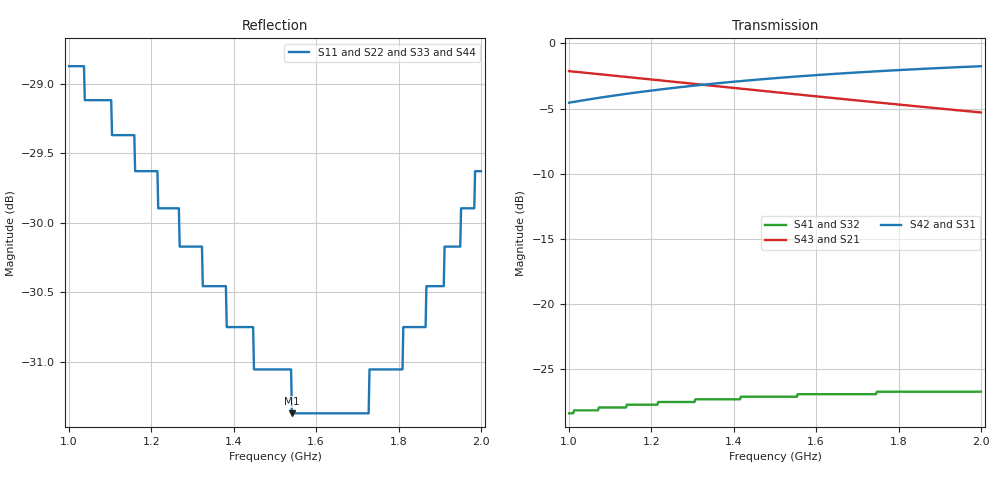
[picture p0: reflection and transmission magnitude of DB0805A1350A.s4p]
!	AVX THIN FILM OPERATION
!	0805 SIZE 3dB 90deg COUPLER P/N DB0805A1350ASTR
!	Created November 2010
!	Network	Analyzer	HP8720E	S.07.64:	"Feb23,2000"	Serial	No.US39172382
# MHZ S MA R 50
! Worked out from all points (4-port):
!   500 points, 1 GHz to 2 GHz, reference 50 ohm
!   strongest paths, dB at 1 GHz, 1.251 GHz, 1.501 GHz, 1.752 GHz, 2 GHz:
!     S42: -4.6, -3.4, -2.7, -2.1, -1.7
!     S31: -4.6, -3.4, -2.7, -2.1, -1.7
!     S43: -2.1, -2.9, -3.7, -4.5, -5.3
!     S21: -2.1, -2.9, -3.7, -4.5, -5.3
!     S41: -28.4, -27.5, -27.1, -26.7, -26.7
!     S32: -28.4, -27.5, -27.1, -26.7, -26.7
!   lowest |S11| = -31.4 dB at 1.541 GHz (marker M1), VSWR 1.06, Z = 48.7 - j2.32 ohm
!   |S11| at or under -10 dB: start of sweep to end of sweep
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1000  0.036 -127.6  0.783 -39.7  0.592 50.2  0.038 -16.7
      0.783 -39.7  0.036 -127.6  0.038 -16.7  0.592 50.2
      0.592 50.2  0.038 -16.7  0.036 -127.6  0.783 -39.7
      0.038 -16.7  0.592 50.2  0.783 -39.7  0.036 -127.6
1220.441  0.032 -129.6  0.722 -45.9  0.665 44.1  0.042 -34.0
          0.722 -45.9  0.032 -129.6  0.042 -34.0  0.665 44.1
          0.665 44.1  0.042 -34.0  0.032 -129.6  0.722 -45.9
          0.042 -34.0  0.665 44.1  0.722 -45.9  0.032 -129.6
1541.082  0.027 -118.3  0.64 -53.3  0.744 36.7  0.044 -55.3
          0.64 -53.3  0.027 -118.3  0.044 -55.3  0.744 36.7
          0.744 36.7  0.044 -55.3  0.027 -118.3  0.64 -53.3
          0.044 -55.3  0.744 36.7  0.64 -53.3  0.027 -118.3
1723.447  0.027 -105.8  0.599 -57.0  0.778 33.1  0.045 -65.8
          0.599 -57.0  0.027 -105.8  0.045 -65.8  0.778 33.1
          0.778 33.1  0.045 -65.8  0.027 -105.8  0.599 -57.0
          0.045 -65.8  0.778 33.1  0.599 -57.0  0.027 -105.8
1733.467  0.028 -105.1  0.597 -57.2  0.779 32.9  0.045 -66.3
          0.597 -57.2  0.028 -105.1  0.045 -66.3  0.779 32.9
          0.779 32.9  0.045 -66.3  0.028 -105.1  0.597 -57.2
          0.045 -66.3  0.779 32.9  0.597 -57.2  0.028 -105.1
1805.611  0.028 -99.9  0.582 -58.5  0.791 31.6  0.046 -70.2
          0.582 -58.5  0.028 -99.9  0.046 -70.2  0.791 31.6
          0.791 31.6  0.046 -70.2  0.028 -99.9  0.582 -58.5
          0.046 -70.2  0.791 31.6  0.582 -58.5  0.028 -99.9
2000  0.033 -88.2  0.543 -61.8  0.818 28.4  0.046 -79.7
      0.543 -61.8  0.033 -88.2  0.046 -79.7  0.818 28.4
      0.818 28.4  0.046 -79.7  0.033 -88.2  0.543 -61.8
      0.046 -79.7  0.818 28.4  0.543 -61.8  0.033 -88.2
